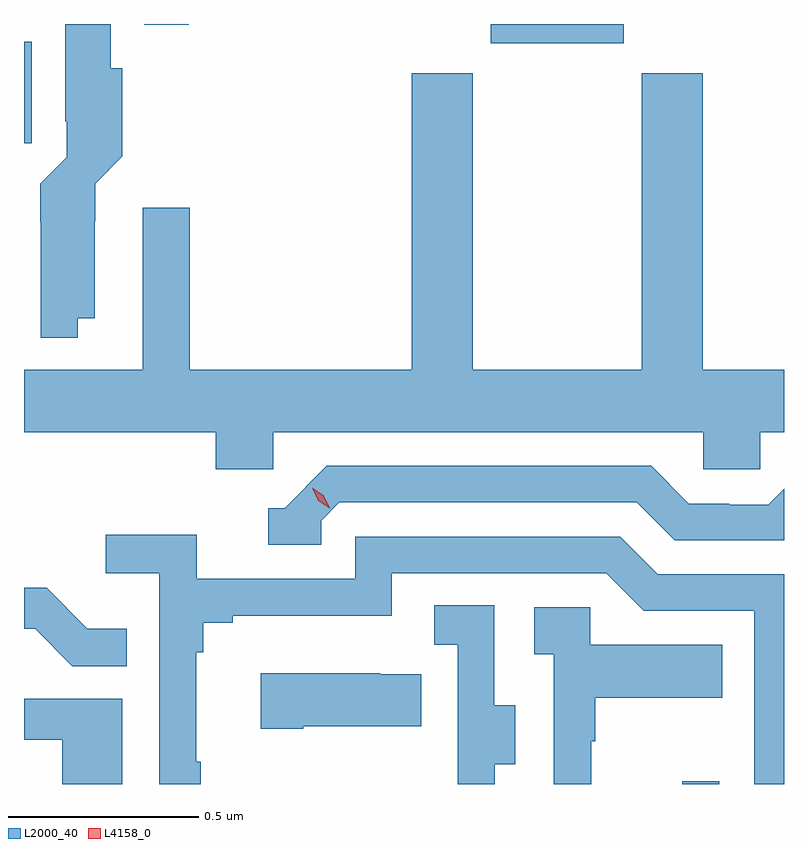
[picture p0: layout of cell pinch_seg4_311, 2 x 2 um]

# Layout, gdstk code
import gdstk
lib = gdstk.Library(unit=1e-6, precision=1e-09)
def R(c, l, rs):  # rectangles x0, y0, x1, y1
    for r in rs: c.add(gdstk.rectangle(r[:2], r[2:], *l))
def P(c, l, *ps):  # polygons
    for p in ps: c.add(gdstk.Polygon(p, *l))
L2000_40 = (2000, 40)
L4158_0 = (4158, 0)

pinch_seg4_311 = lib.new_cell('pinch_seg4_311')
R(pinch_seg4_311, L2000_40, [(928.436,803.886,928.533,803.893), (926.704,805.572,926.725,805.839), (927.932,805.835,928.282,805.886), (927.021,805.884,927.137,805.886)])
P(pinch_seg4_311, L2000_40, [(926.845,805.112),(926.89,805.112),(926.89,805.367),(926.891,805.367),(926.891,805.466),(926.963,805.538),(926.963,805.77),(926.932,805.77),(926.932,805.886),(926.813,805.886),(926.813,805.63),(926.817,805.63),(926.817,805.536),(926.747,805.466),(926.747,805.364),(926.748,805.364),(926.748,805.061),(926.845,805.061)],
  [(927.36,804.812),(928.491,804.812),(928.491,804.714),(928.641,804.714),(928.641,804.812),(928.704,804.812),(928.704,804.976),(928.49,804.976),(928.49,805.756),(928.33,805.756),(928.33,804.976),(927.885,804.976),(927.885,805.756),(927.725,805.756),(927.725,804.976),(927.14,804.976),(927.14,805.402),(927.017,805.402),(927.017,804.976),(926.704,804.976),(926.704,804.812),(927.209,804.812),(927.209,804.714),(927.36,804.714)],
  [(927.486,804.579),(927.534,804.627),(928.317,804.627),(928.416,804.528),(928.704,804.528),(928.704,804.663),(928.663,804.621),(928.56,804.621),(928.56,804.624),(928.453,804.624),(928.354,804.723),(927.501,804.723),(927.39,804.612),(927.347,804.612),(927.347,804.516),(927.486,804.516)],
  [(927.169,803.945),(927.157,803.945),(927.157,804.233),(927.176,804.233),(927.176,804.31),(927.253,804.31),(927.253,804.329),(927.672,804.329),(927.672,804.441),(928.236,804.441),(928.335,804.342),(928.626,804.342),(928.626,803.886),(928.704,803.886),(928.704,804.438),(928.372,804.438),(928.273,804.537),(927.576,804.537),(927.576,804.426),(927.158,804.426),(927.158,804.542),(926.919,804.542),(926.919,804.44),(927.06,804.44),(927.06,803.886),(927.169,803.886)],
  [(926.975,804.295),(926.871,804.295),(926.764,804.402),(926.704,804.402),(926.704,804.294),(926.733,804.294),(926.831,804.196),(926.975,804.196)],
  [(927.943,803.938),(927.997,803.938),(927.997,804.093),(927.942,804.093),(927.942,804.356),(927.783,804.356),(927.783,804.253),(927.846,804.253),(927.846,803.949),(927.845,803.949),(927.845,803.886),(927.943,803.886)],
  [(928.197,803.999),(928.207,803.999),(928.207,804.113),(928.541,804.113),(928.541,804.253),(928.194,804.253),(928.194,804.351),(928.047,804.351),(928.047,804.227),(928.098,804.227),(928.098,803.886),(928.197,803.886)],
  [(927.439,804.038),(927.749,804.038),(927.749,804.175),(927.641,804.175),(927.641,804.178),(927.327,804.178),(927.327,804.031),(927.439,804.031)],
  [(926.962,804.111),(926.704,804.111),(926.704,804.015),(926.705,804.015),(926.705,804.003),(926.804,804.003),(926.804,803.886),(926.962,803.886)])
P(pinch_seg4_311, L4158_0, [(927.509,804.612),(927.478,804.632),(927.462,804.665),(927.462,804.665),(927.463,804.665),(927.493,804.645),(927.509,804.612),(927.509,804.612)])

lib.write_gds('pinch_seg4_311.gds')
